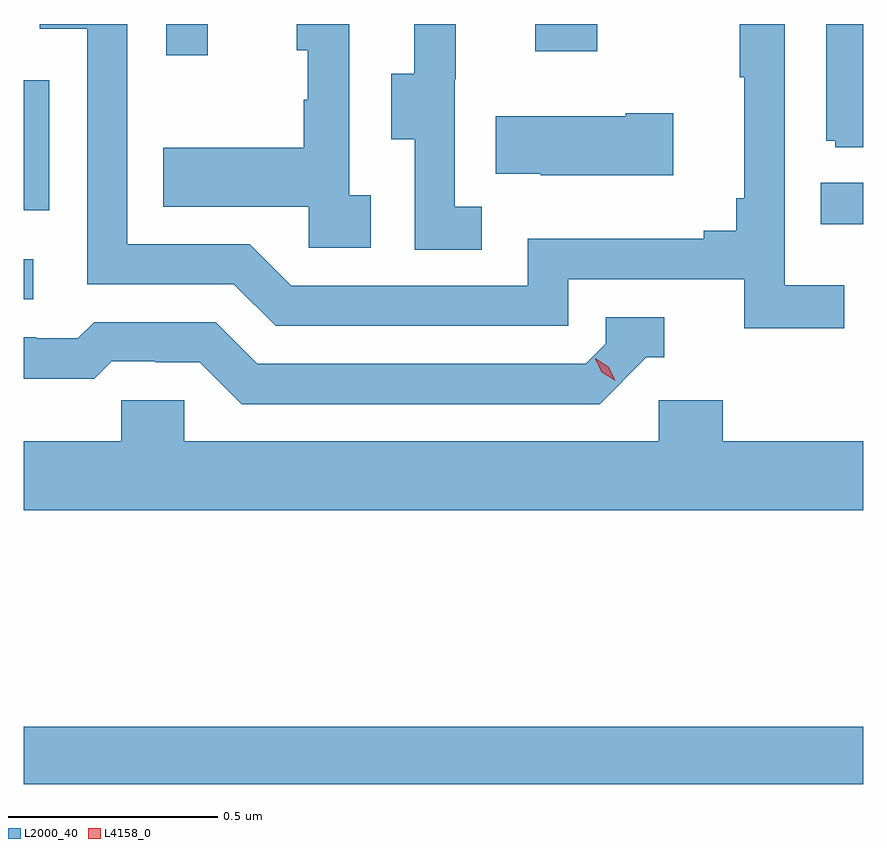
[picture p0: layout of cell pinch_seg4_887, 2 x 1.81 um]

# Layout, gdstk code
import gdstk
lib = gdstk.Library(unit=1e-6, precision=1e-09)
def R(c, l, rs):  # rectangles x0, y0, x1, y1
    for r in rs: c.add(gdstk.rectangle(r[:2], r[2:], *l))
def P(c, l, *ps):  # polygons
    for p in ps: c.add(gdstk.Polygon(p, *l))
L2000_40 = (2000, 40)
L4158_0 = (4158, 0)

pinch_seg4_887 = lib.new_cell('pinch_seg4_887')
R(pinch_seg4_887, L2000_40, [(849.635,798.832,851.635,798.968), (849.635,799.986,849.658,800.082), (851.533,800.165,851.635,800.264), (849.635,800.199,849.696,800.508), (849.975,800.568,850.073,800.642), (850.853,800.577,851.001,800.642)])
P(pinch_seg4_887, L2000_40, [(851.635,800.642),(851.546,800.642),(851.546,800.364),(851.568,800.364),(851.568,800.349),(851.635,800.349)],
  [(850.462,800.234),(850.41,800.234),(850.41,800.642),(850.286,800.642),(850.286,800.58),(850.312,800.58),(850.312,800.462),(850.302,800.462),(850.302,800.347),(849.967,800.347),(849.967,800.207),(850.314,800.207),(850.314,800.109),(850.462,800.109)],
  [(851.59,800.02),(851.448,800.02),(851.448,800.642),(851.34,800.642),(851.34,800.515),(851.351,800.515),(851.351,800.227),(851.332,800.227),(851.332,800.15),(851.255,800.15),(851.255,800.131),(850.836,800.131),(850.836,800.019),(850.272,800.019),(850.173,800.118),(849.882,800.118),(849.882,800.642),(849.673,800.642),(849.673,800.631),(849.786,800.631),(849.786,800.022),(850.136,800.022),(850.235,799.923),(850.932,799.923),(850.932,800.034),(851.351,800.034),(851.351,799.918),(851.59,799.918)],
  [(850.726,800.207),(850.662,800.207),(850.662,800.511),(850.664,800.511),(850.664,800.642),(850.565,800.642),(850.565,800.523),(850.511,800.523),(850.511,800.368),(850.566,800.368),(850.566,800.104),(850.726,800.104)],
  [(851.182,800.43),(851.069,800.43),(851.069,800.422),(850.759,800.422),(850.759,800.285),(850.867,800.285),(850.867,800.282),(851.182,800.282)],
  [(851.118,799.848),(851.161,799.848),(851.161,799.944),(851.022,799.944),(851.022,799.881),(850.974,799.833),(850.191,799.833),(850.092,799.932),(849.803,799.932),(849.764,799.893),(849.665,799.893),(849.665,799.896),(849.635,799.896),(849.635,799.797),(849.803,799.797),(849.845,799.839),(849.948,799.839),(849.948,799.836),(850.055,799.836),(850.154,799.737),(851.007,799.737)],
  [(851.635,799.648),(851.3,799.648),(851.3,799.746),(851.148,799.746),(851.148,799.648),(850.017,799.648),(850.017,799.746),(849.867,799.746),(849.867,799.648),(849.635,799.648),(849.635,799.484),(851.635,799.484)])
P(pinch_seg4_887, L4158_0, [(851.043,799.793),(851.012,799.813),(850.996,799.845),(850.996,799.846),(850.996,799.846),(851.027,799.826),(851.044,799.793),(851.044,799.793)])

lib.write_gds('pinch_seg4_887.gds')
